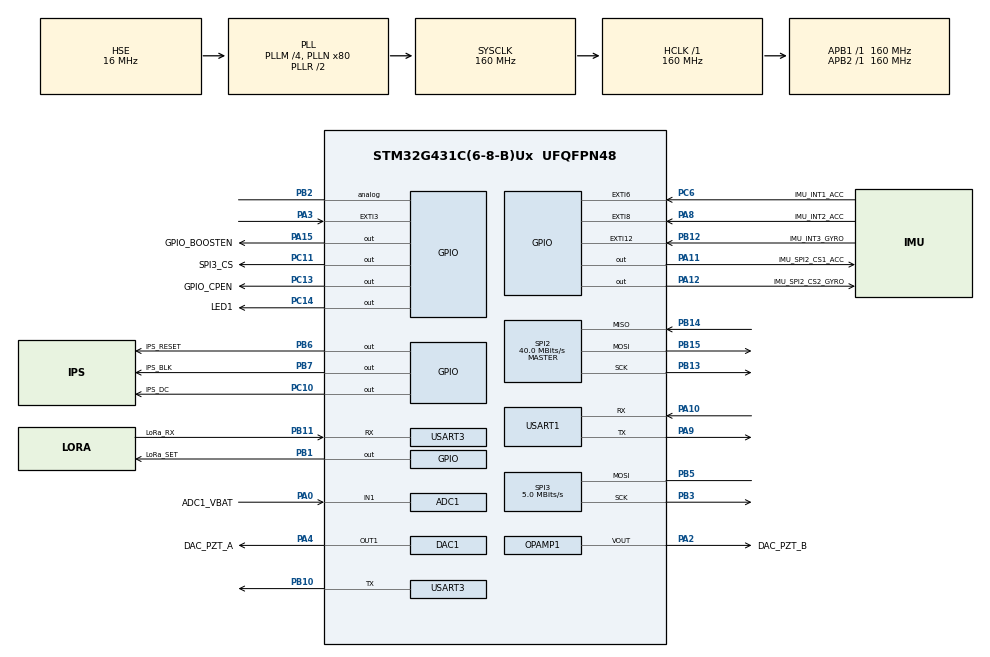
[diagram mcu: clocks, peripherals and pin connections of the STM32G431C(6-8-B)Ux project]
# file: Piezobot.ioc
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ADC1.Channel-4\#ChannelRegularConversion=ADC_CHANNEL_1
ADC1.NbrOfConversionFlag=1
ADC1.OffsetNumber-4\#ChannelRegularConversion=ADC_OFFSET_NONE
ADC1.Rank-4\#ChannelRegularConversion=1
ADC1.SamplingTime-4\#ChannelRegularConversion=ADC_SAMPLETIME_2CYCLES_5
ADC1.master=1
DAC1.DAC_HighFrequency_OUT1-DAC_OUT1=DAC_HIGH_FREQUENCY_INTERFACE_MODE_ABOVE_160MHZ
DAC1.DAC_OutputBuffer-DAC_OUT1=DAC_OUTPUTBUFFER_DISABLE
DAC1.DAC_Trigger_OUT1-DAC_OUT1=DAC_TRIGGER_T6_TRGO
DAC3.DAC_HighFrequency_OUT1-DAC_OUT1_Int=DAC_HIGH_FREQUENCY_INTERFACE_MODE_ABOVE_160MHZ
DAC3.DAC_Trigger_OUT1-DAC_OUT1_Int=DAC_TRIGGER_T6_TRGO
Dma.DAC1_CH1.1.Direction=DMA_MEMORY_TO_PERIPH
Dma.DAC1_CH1.1.EventEnable=DISABLE
Dma.DAC1_CH1.1.Instance=DMA1_Channel2
Dma.DAC1_CH1.1.MemDataAlignment=DMA_MDATAALIGN_WORD
Dma.DAC1_CH1.1.MemInc=DMA_MINC_ENABLE
Dma.DAC1_CH1.1.Mode=DMA_CIRCULAR
Dma.DAC1_CH1.1.PeriphDataAlignment=DMA_PDATAALIGN_WORD
Dma.DAC1_CH1.1.PeriphInc=DMA_PINC_DISABLE
Dma.DAC1_CH1.1.Polarity=HAL_DMAMUX_REQ_GEN_RISING
Dma.DAC1_CH1.1.Priority=DMA_PRIORITY_MEDIUM
Dma.DAC1_CH1.1.RequestNumber=1
Dma.DAC1_CH1.1.SignalID=NONE
Dma.DAC1_CH1.1.SyncEnable=DISABLE
Dma.DAC1_CH1.1.SyncPolarity=HAL_DMAMUX_SYNC_NO_EVENT
Dma.DAC1_CH1.1.SyncRequestNumber=1
Dma.DAC1_CH1.1.SyncSignalID=NONE
Dma.DAC3_CH1.0.Direction=DMA_MEMORY_TO_PERIPH
Dma.DAC3_CH1.0.EventEnable=DISABLE
Dma.DAC3_CH1.0.Instance=DMA1_Channel1
Dma.DAC3_CH1.0.MemDataAlignment=DMA_MDATAALIGN_WORD
Dma.DAC3_CH1.0.MemInc=DMA_MINC_ENABLE
Dma.DAC3_CH1.0.Mode=DMA_CIRCULAR
Dma.DAC3_CH1.0.PeriphDataAlignment=DMA_PDATAALIGN_WORD
Dma.DAC3_CH1.0.PeriphInc=DMA_PINC_DISABLE
Dma.DAC3_CH1.0.Polarity=HAL_DMAMUX_REQ_GEN_RISING
Dma.DAC3_CH1.0.Priority=DMA_PRIORITY_MEDIUM
Dma.DAC3_CH1.0.RequestNumber=1
Dma.DAC3_CH1.0.SignalID=NONE
Dma.DAC3_CH1.0.SyncEnable=DISABLE
Dma.DAC3_CH1.0.SyncPolarity=HAL_DMAMUX_SYNC_NO_EVENT
Dma.DAC3_CH1.0.SyncRequestNumber=1
Dma.DAC3_CH1.0.SyncSignalID=NONE
Dma.Request0=DAC3_CH1
Dma.Request1=DAC1_CH1
Mcu.Family=STM32G4
Mcu.Name=STM32G431C(6-8-B)Ux
Mcu.Package=UFQFPN48
NVIC.DMA1_Channel1_IRQn=true\:0\:0\:false\:false\:true\:false\:true\:true
NVIC.DMA1_Channel2_IRQn=true\:0\:0\:false\:false\:true\:false\:true\:true
NVIC.PriorityGroup=NVIC_PRIORITYGROUP_4
NVIC.TIM7_IRQn=true\:2\:0\:true\:false\:true\:true\:true\:true
NVIC.USART1_IRQn=true\:2\:0\:true\:false\:true\:true\:true\:true
NVIC.USART3_IRQn=true\:2\:0\:true\:false\:true\:true\:true\:true
OPAMP1.PowerMode=OPAMP_POWERMODE_HIGHSPEED
PA0.GPIO_Label=ADC1_VBAT
PA0.Mode=IN1-Single-Ended
PA0.Signal=ADC1_IN1
PA10.Mode=Asynchronous
PA10.Signal=USART1_RX
PA11.GPIO_Label=IMU_SPI2_CS1_ACC
PA11.Signal=GPIO_Output
PA12.GPIO_Label=IMU_SPI2_CS2_GYRO
PA12.Signal=GPIO_Output
PA13.Mode=Serial_Wire
PA13.Signal=SYS_JTMS-SWDIO
PA14.Mode=Serial_Wire
PA14.Signal=SYS_JTCK-SWCLK
PA15.GPIO_Label=GPIO_BOOSTEN
PA15.GPIO_PuPd=GPIO_PULLDOWN
PA15.PinState=GPIO_PIN_SET
PA15.Signal=GPIO_Output
PA2.GPIO_Label=DAC_PZT_B
PA2.Mode=Follower-DAC_OUT2-INP
PA2.Signal=OPAMP1_VOUT
PA3.Signal=GPXTI3
PA4.GPIO_Label=DAC_PZT_A
PA4.Signal=COMP_DAC11_group
PA8.GPIO_Label=IMU_INT2_ACC
PA8.Signal=GPXTI8
PA9.Mode=Asynchronous
PA9.Signal=USART1_TX
PB1.GPIO_Label=LoRa_SET
PB1.GPIO_ModeDefaultOutputPP=GPIO_MODE_OUTPUT_OD
PB1.GPIO_PuPd=GPIO_PULLUP
PB1.PinState=GPIO_PIN_SET
PB1.Signal=GPIO_Output
PB10.Mode=Asynchronous
PB10.Signal=USART3_TX
PB11.GPIO_Label=LoRa_RX
PB11.Mode=Asynchronous
PB11.Signal=USART3_RX
PB12.GPIO_Label=IMU_INT3_GYRO
PB12.Signal=GPXTI12
PB13.Mode=Full_Duplex_Master
PB13.Signal=SPI2_SCK
PB14.Mode=Full_Duplex_Master
PB14.Signal=SPI2_MISO
PB15.Mode=Full_Duplex_Master
PB15.Signal=SPI2_MOSI
PB2.Signal=GPIO_Analog
PB3.Mode=Simplex_Bidirectional_Master
PB3.Signal=SPI3_SCK
PB5.Mode=Simplex_Bidirectional_Master
PB5.Signal=SPI3_MOSI
PB6.GPIO_Label=IPS_RESET
PB6.GPIO_PuPd=GPIO_PULLUP
PB6.GPIO_Speed=GPIO_SPEED_FREQ_LOW
PB6.PinState=GPIO_PIN_SET
PB6.Signal=GPIO_Output
PB7.GPIO_Label=IPS_BLK
PB7.GPIO_Speed=GPIO_SPEED_FREQ_LOW
PB7.PinState=GPIO_PIN_RESET
PB7.Signal=GPIO_Output
PC10.GPIO_Label=IPS_DC
PC10.GPIO_PuPd=GPIO_PULLDOWN
PC10.GPIO_Speed=GPIO_SPEED_FREQ_LOW
PC10.Signal=GPIO_Output
PC11.GPIO_Label=SPI3_CS
PC11.GPIO_PuPd=GPIO_PULLDOWN
PC11.GPIO_Speed=GPIO_SPEED_FREQ_LOW
PC11.Signal=GPIO_Output
PC13.GPIO_Label=GPIO_CPEN
PC13.GPIO_ModeDefaultOutputPP=GPIO_MODE_OUTPUT_PP
PC13.GPIO_PuPd=GPIO_PULLDOWN
PC13.PinState=GPIO_PIN_SET
PC13.Signal=GPIO_Output
PC14-OSC32_IN.GPIO_Label=LED1
PC14-OSC32_IN.Signal=GPIO_Output
PC6.GPIO_Label=IMU_INT1_ACC
PC6.Signal=GPXTI6
PF0-OSC_IN.Mode=HSE-External-Oscillator
PF0-OSC_IN.Signal=RCC_OSC_IN
PF1-OSC_OUT.Mode=HSE-External-Oscillator
PF1-OSC_OUT.Signal=RCC_OSC_OUT
ProjectManager.HeapSize=0x200
ProjectManager.StackSize=0x400
ProjectManager.TargetToolchain=MDK-ARM V5.32
RCC.ADC12Freq_Value=160000000
RCC.AHBFreq_Value=160000000
RCC.APB1Freq_Value=160000000
RCC.APB1TimFreq_Value=160000000
RCC.APB2Freq_Value=160000000
RCC.APB2TimFreq_Value=160000000
RCC.CortexFreq_Value=160000000
RCC.EXTERNAL_CLOCK_VALUE=12288000
RCC.HCLKFreq_Value=160000000
RCC.HSE_VALUE=16000000
RCC.HSI48_VALUE=48000000
RCC.HSI_VALUE=16000000
RCC.LSE_VALUE=32768
RCC.PLLM=RCC_PLLM_DIV4
RCC.PLLN=80
RCC.PLLSourceVirtual=RCC_PLLSOURCE_HSE
RCC.SYSCLKFreq_VALUE=160000000
RCC.SYSCLKSource=RCC_SYSCLKSOURCE_PLLCLK
RCC.USBFreq_Value=160000000
RCC.VCOOutputFreq_Value=320000000
SH.COMP_DAC11_group.0=DAC1_OUT1,DAC_OUT1
SPI2.BaudRatePrescaler=SPI_BAUDRATEPRESCALER_4
SPI2.CalculateBaudRate=40.0 MBits/s
SPI2.Direction=SPI_DIRECTION_2LINES
SPI2.Mode=SPI_MODE_MASTER
SPI2.VirtualType=VM_MASTER
SPI3.BaudRatePrescaler=SPI_BAUDRATEPRESCALER_32
SPI3.CalculateBaudRate=5.0 MBits/s
SPI3.DataSize=SPI_DATASIZE_8BIT
SPI3.Direction=SPI_DIRECTION_1LINE
SPI3.Mode=SPI_MODE_MASTER
SPI3.VirtualType=VM_MASTER
TIM6.PeriodNoDither=49
TIM6.Prescaler=15
TIM6.TIM_MasterOutputTrigger=TIM_TRGO_UPDATE
TIM7.PeriodNoDither=9999
TIM7.Prescaler=15999
USART1.VirtualMode-Asynchronous=VM_ASYNC
USART3.BaudRate=9600
USART3.Mode=MODE_TX_RX
USART3.VirtualMode-Asynchronous=VM_ASYNC
VP_DAC3_VS_DACI1.Mode=DAC_OUT1_Int
VP_SYS_VS_DBSignals.Mode=DisableDeadBatterySignals
VP_TIM6_VS_ClockSourceINT.Mode=Enable_Timer
VP_TIM7_VS_ClockSourceINT.Mode=Enable_Timer
board=custom

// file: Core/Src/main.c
/* USER CODE BEGIN Header */
/**
  ******************************************************************************
  * @file           : main.c
  * @brief          : Main program body
  ******************************************************************************
  * @attention
  *
  * Copyright (c) 2025 STMicroelectronics.
  * All rights reserved.
  *
  * This software is licensed under terms that can be found in the LICENSE file
  * in the root directory of this software component.
  * If no LICENSE file comes with this software, it is provided AS-IS.
  *
  ******************************************************************************
  */
/* USER CODE END Header */
#include "main.h"
#include "adc.h"
#include "dac.h"
#include "dma.h"
#include "opamp.h"
#include "spi.h"
#include "tim.h"
#include "usart.h"
#include "gpio.h"

/* USER CODE BEGIN Includes */
#include "lcd.h"
#include "lcd_init.h"
#include "wave.h"
#include "HC_12.h"
#include "comm.h"
#include "protocol.h"
#include "string.h"
#include "math.h"
/* USER CODE END Includes */

void SystemClock_Config(void);

int main(void)
{

  /* MCU Configuration--------------------------------------------------------*/

  /* Reset of all peripherals, Initializes the Flash interface and the Systick. */
  HAL_Init();

  /* Configure the system clock */
  SystemClock_Config();

  /* Initialize all configured peripherals */
  MX_GPIO_Init();
  MX_DMA_Init();
  MX_DAC1_Init();
  MX_SPI2_Init();
  MX_SPI3_Init();
  MX_USART1_UART_Init();
  MX_ADC1_Init();
  MX_DAC3_Init();
  MX_OPAMP1_Init();
  MX_TIM7_Init();
  MX_TIM6_Init();
  MX_USART3_UART_Init();
  /* USER CODE BEGIN 2 */
	HAL_DAC_Start_DMA(&hdac1, DAC_CHANNEL_1, toothsheet_runwave_left, WAVE_LENTH, DAC_ALIGN_12B_R);
	HAL_DAC_Start_DMA(&hdac3, DAC_CHANNEL_1, (uint32_t*)toothsheet_runwave_right, WAVE_LENTH, DAC_ALIGN_12B_R);

	HAL_TIM_Base_Start_IT(&htim7);

	HAL_TIM_Base_Start(&htim6);

	HAL_OPAMP_Start(&hopamp1);

	LCD_Init();
	LCD_Fill(0,0,LCD_W,LCD_H,BLACK);

	Comm_Init();

	HAL_StatusTypeDef hc12_ret;

	hc12_ret = HC12_Set(HC12_CMD_OK, 0);

	const char *hc12_msg;

	hc12_msg = (hc12_ret == HAL_OK) ? "OK\r\n" : "FAIL\r\n";
	HAL_UART_Transmit(&huart1, (uint8_t *)hc12_msg, (uint16_t)strlen(hc12_msg), 100U);

	Protocol_Init();
	HAL_GPIO_WritePin(IPS_BLK_GPIO_Port, IPS_BLK_Pin ,GPIO_PIN_SET);
	LCD_ShowString(10,50,"Power_L:",RED,WHITE,16,0);
	LCD_ShowString(10,70,"Power_R:",RED,WHITE,16,0);

	/* optional HC-12 settings: uncomment one line to write it into the module */
//	hc12_ret = HC12_Set(HC12_CMD_B,  HC12_BAUD_9600);   /* baud rate        */
//	hc12_ret = HC12_Set(HC12_CMD_C,  21);               /* channel          */
//	hc12_ret = HC12_Set(HC12_CMD_FU, HC12_FU3);         /* transparent mode */
//	hc12_ret = HC12_Set(HC12_CMD_P,  HC12_P8);          /* TX power         */
//	hc12_ret = HC12_Set(HC12_CMD_DEFAULT, 0);           /* factory reset    */

  /* USER CODE END 2 */

  /* Infinite loop */
  /* USER CODE BEGIN WHILE */
//		LCD_ShowIntNum(20,82,16,2,RED,WHITE,16);
//		LCD_ShowString(80,40,"LCD_H:",RED,WHITE,16,0);
//		LCD_ShowIntNum(128,40,LCD_H,3,RED,WHITE,16);
//		LCD_ShowString(30,40,"LCD_H:",RED,WHITE,16,0);
//		LCD_ShowString(0,70,"Increaseing Nun:",RED,WHITE,16,0);
//		LCD_ShowFloatNum1(128,70,t,4,RED,WHITE,16);
	while (1)
  {
		if(receive_state == DONE)
		{

			HAL_GPIO_TogglePin(LED1_GPIO_Port, LED1_Pin);

			float spd   = received_data[LOCAL_ID - 1].speed;
			float angle = received_data[LOCAL_ID - 1].angle;
			float rate_left;
			float rate_right;

			if(angle > 0.0f)	/* steer left: slow the inner wheel */
			{
				rate_left  = spd * cosf(angle);	/* inner wheel scaled by cos(angle) */
				rate_right = spd;
			}
			else	/* steer right: slow the inner wheel */
			{
				rate_left  = spd;
				rate_right = spd * cosf(angle);	/* inner wheel scaled by cos(angle) */
			}

			RunWave_Gen(toothsheet_fullwave, rate_left,  toothsheet_runwave_left);
			RunWave_Gen(toothsheet_fullwave, rate_right, toothsheet_runwave_right);

			LCD_ShowFloatNum1(80,50, rate_left,  4, RED, WHITE, 16);   /* rate left  */
			LCD_ShowFloatNum1(80,70, rate_right, 4, RED, WHITE, 16);   /* rate right */
			receive_state = IDLE;
		}

    /* USER CODE END WHILE */

  }
}

void SystemClock_Config(void)
{
  RCC_OscInitTypeDef RCC_OscInitStruct = {0};
  RCC_ClkInitTypeDef RCC_ClkInitStruct = {0};

  /** Configure the main internal regulator output voltage
  */
  HAL_PWREx_ControlVoltageScaling(PWR_REGULATOR_VOLTAGE_SCALE1_BOOST);

  /** Initializes the RCC Oscillators according to the specified parameters
  * in the RCC_OscInitTypeDef structure.
  */
  RCC_OscInitStruct.OscillatorType = RCC_OSCILLATORTYPE_HSE;
  RCC_OscInitStruct.HSEState = RCC_HSE_ON;
  RCC_OscInitStruct.PLL.PLLState = RCC_PLL_ON;
  RCC_OscInitStruct.PLL.PLLSource = RCC_PLLSOURCE_HSE;
  RCC_OscInitStruct.PLL.PLLM = RCC_PLLM_DIV4;
  RCC_OscInitStruct.PLL.PLLN = 80;
  RCC_OscInitStruct.PLL.PLLP = RCC_PLLP_DIV2;
  RCC_OscInitStruct.PLL.PLLQ = RCC_PLLQ_DIV2;
  RCC_OscInitStruct.PLL.PLLR = RCC_PLLR_DIV2;
  if (HAL_RCC_OscConfig(&RCC_OscInitStruct) != HAL_OK)
  {
    Error_Handler();
  }

  /** Initializes the CPU, AHB and APB buses clocks
  */
  RCC_ClkInitStruct.ClockType = RCC_CLOCKTYPE_HCLK|RCC_CLOCKTYPE_SYSCLK
                              |RCC_CLOCKTYPE_PCLK1|RCC_CLOCKTYPE_PCLK2;
  RCC_ClkInitStruct.SYSCLKSource = RCC_SYSCLKSOURCE_PLLCLK;
  RCC_ClkInitStruct.AHBCLKDivider = RCC_SYSCLK_DIV1;
  RCC_ClkInitStruct.APB1CLKDivider = RCC_HCLK_DIV1;
  RCC_ClkInitStruct.APB2CLKDivider = RCC_HCLK_DIV1;

  if (HAL_RCC_ClockConfig(&RCC_ClkInitStruct, FLASH_LATENCY_4) != HAL_OK)
  {
    Error_Handler();
  }
}

void Error_Handler(void)
{
  __disable_irq();
  while (1)
  {
  }
}
